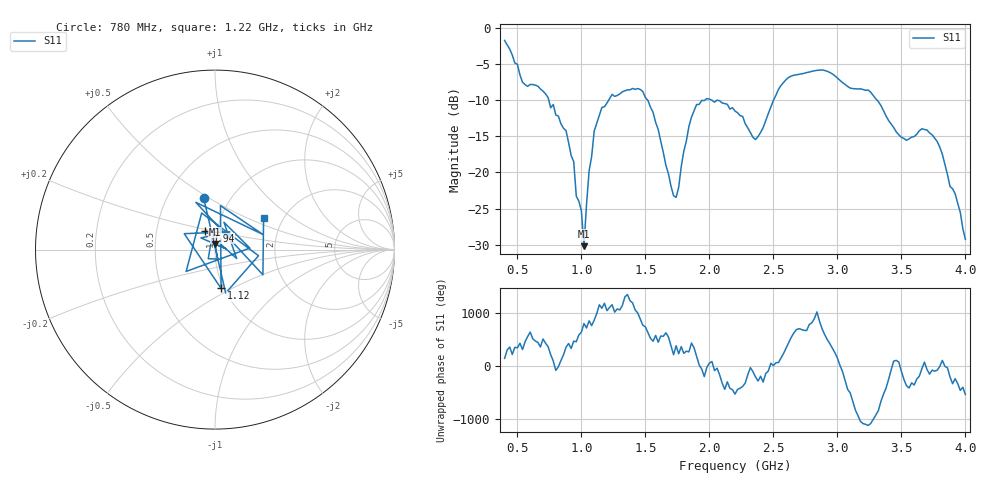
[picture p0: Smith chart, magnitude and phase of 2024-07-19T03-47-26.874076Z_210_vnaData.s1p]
!Created with skrf (http://scikit-rf.org).
# Hz S RI R 50.0
!freq ReS11 ImS11
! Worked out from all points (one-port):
!   181 points, 400 MHz to 4 GHz, reference 50 ohm
!   lowest |S11| = -30.2 dB at 1.02 GHz (marker M1), VSWR 1.06, Z = 49.9 + j3.09 ohm
!   |S11| at or under -10 dB: 744.7 MHz to 1.214 GHz (469.1 MHz wide, 47.9 % of centre); 2.015 GHz to 2.501 GHz (486.3 MHz wide, 21.5 % of centre); 3.308 GHz to end of sweep (the widest 3 of 4)
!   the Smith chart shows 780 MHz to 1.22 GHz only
!   S11 on the Smith chart (normalised r, x): 780 MHz: 0.75, +0.47; 940 MHz: 0.88, +0.19; 1.12 GHz: 0.97, -0.44; 1.22 GHz: 1.59, +0.63
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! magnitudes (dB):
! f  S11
! 400 MHz  -1.8
! 540 MHz  -7.6
! 780 MHz  -10.6
! 860 MHz  -13.9
! 940 MHz  -18.5
! 960 MHz  -23.3
! 1 GHz  -25.3
! 1.02 GHz  -30.2
! 1.06 GHz  -19.8
! 1.12 GHz  -13.2
! 1.22 GHz  -9.8
! 1.3 GHz  -9.2
! 1.48 GHz  -8.8
! 1.6 GHz  -14.1
! 1.72 GHz  -23.2
! 1.76 GHz  -22.1
! 1.84 GHz  -13.7
! 1.9 GHz  -10.6
! 2.2 GHz  -11.5
! 2.36 GHz  -15.5
! 2.54 GHz  -8.5
! 2.66 GHz  -6.6
! 2.9 GHz  -5.9
! 3.1 GHz  -8.4
! 3.26 GHz  -8.9
! 3.56 GHz  -15.4
! 3.78 GHz  -15.7
! 4 GHz  -29.2
